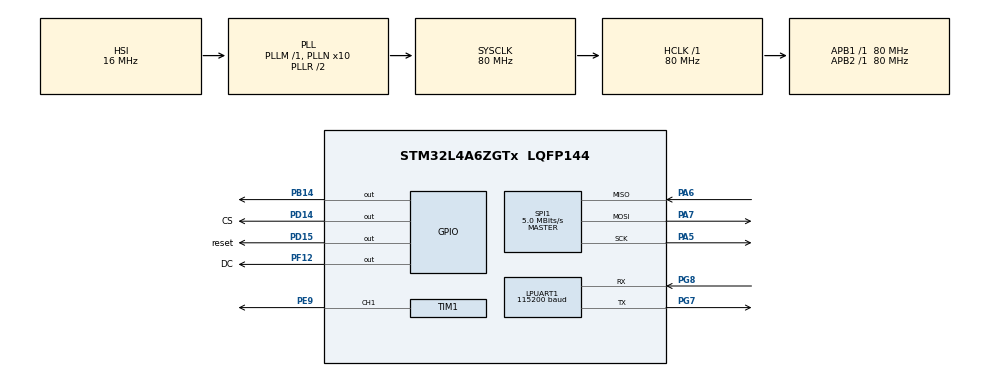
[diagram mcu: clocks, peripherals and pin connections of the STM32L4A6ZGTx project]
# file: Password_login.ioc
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AES.Data\ encryption\ types\ list=AESCBC
AES.DataType=CRYP_DATATYPE_8B
AES.pInitVect=01 02 03 04 05 06 07 08 09 0A 0B 0C 0D 0E 0F 00
AES.pKey=01 0A 02 0B 03 0F 04 05 07 0D 0C 0E 0B 09 08 00
Dma.Request0=SPI1_RX
Dma.Request1=SPI1_TX
Dma.SPI1_RX.0.Direction=DMA_PERIPH_TO_MEMORY
Dma.SPI1_RX.0.Instance=DMA1_Channel2
Dma.SPI1_RX.0.MemDataAlignment=DMA_MDATAALIGN_BYTE
Dma.SPI1_RX.0.MemInc=DMA_MINC_ENABLE
Dma.SPI1_RX.0.Mode=DMA_NORMAL
Dma.SPI1_RX.0.PeriphDataAlignment=DMA_PDATAALIGN_BYTE
Dma.SPI1_RX.0.PeriphInc=DMA_PINC_DISABLE
Dma.SPI1_RX.0.Priority=DMA_PRIORITY_LOW
Dma.SPI1_TX.1.Direction=DMA_MEMORY_TO_PERIPH
Dma.SPI1_TX.1.Instance=DMA1_Channel3
Dma.SPI1_TX.1.MemDataAlignment=DMA_MDATAALIGN_BYTE
Dma.SPI1_TX.1.MemInc=DMA_MINC_ENABLE
Dma.SPI1_TX.1.Mode=DMA_NORMAL
Dma.SPI1_TX.1.PeriphDataAlignment=DMA_PDATAALIGN_BYTE
Dma.SPI1_TX.1.PeriphInc=DMA_PINC_DISABLE
Dma.SPI1_TX.1.Priority=DMA_PRIORITY_LOW
LPUART1.BaudRate=115200
LPUART1.WordLength=UART_WORDLENGTH_8B
Mcu.Family=STM32L4
Mcu.Name=STM32L4A6ZGTx
Mcu.Package=LQFP144
NVIC.DMA1_Channel2_IRQn=true\:0\:0\:false\:false\:true\:false\:true\:true
NVIC.DMA1_Channel3_IRQn=true\:0\:0\:false\:false\:true\:false\:true\:true
NVIC.LPUART1_IRQn=true\:0\:0\:false\:false\:true\:true\:true\:true
NVIC.PriorityGroup=NVIC_PRIORITYGROUP_4
PA5.Mode=Full_Duplex_Master
PA5.Signal=SPI1_SCK
PA6.Mode=Full_Duplex_Master
PA6.Signal=SPI1_MISO
PA7.Mode=Full_Duplex_Master
PA7.Signal=SPI1_MOSI
PB14.Signal=GPIO_Output
PD14.GPIO_Label=CS
PD14.Signal=GPIO_Output
PD15.GPIO_Label=reset
PD15.Signal=GPIO_Output
PE9.Signal=S_TIM1_CH1
PF12.GPIO_Label=DC
PF12.Signal=GPIO_Output
PG7.Mode=Asynchronous
PG7.Signal=LPUART1_TX
PG8.Mode=Asynchronous
PG8.Signal=LPUART1_RX
ProjectManager.HeapSize=0x200
ProjectManager.StackSize=0x400
ProjectManager.TargetToolchain=STM32CubeIDE
RCC.ADCFreq_Value=64000000
RCC.AHBFreq_Value=80000000
RCC.APB1Freq_Value=80000000
RCC.APB1TimFreq_Value=80000000
RCC.APB2Freq_Value=80000000
RCC.APB2TimFreq_Value=80000000
RCC.CortexFreq_Value=80000000
RCC.HCLKFreq_Value=80000000
RCC.HSE_VALUE=8000000
RCC.HSI48_VALUE=48000000
RCC.HSI_VALUE=16000000
RCC.LSE_VALUE=32768
RCC.MSI_VALUE=4000000
RCC.PLLN=10
RCC.PLLSourceVirtual=RCC_PLLSOURCE_HSI
RCC.SYSCLKFreq_VALUE=80000000
RCC.SYSCLKSource=RCC_SYSCLKSOURCE_PLLCLK
RCC.USBFreq_Value=64000000
RCC.VCOOutputFreq_Value=160000000
SH.S_TIM1_CH1.0=TIM1_CH1,PWM Generation1 CH1
SPI1.BaudRatePrescaler=SPI_BAUDRATEPRESCALER_16
SPI1.CalculateBaudRate=5.0 MBits/s
SPI1.DataSize=SPI_DATASIZE_8BIT
SPI1.Direction=SPI_DIRECTION_2LINES
SPI1.Mode=SPI_MODE_MASTER
SPI1.VirtualType=VM_MASTER
TIM1.Channel-PWM\ Generation1\ CH1=TIM_CHANNEL_1
TIM1.Period=1000
TIM1.Prescaler=7
VP_AES_VS_AES.Mode=AES_Activate
board=custom

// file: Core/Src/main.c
/* USER CODE BEGIN Header */
/**
  ******************************************************************************
  * @file           : main.c
  * @brief          : Main program body
  ******************************************************************************
  * @attention
  *
  * Copyright (c) 2025 STMicroelectronics.
  * All rights reserved.
  *
  * This software is licensed under terms that can be found in the LICENSE file
  * in the root directory of this software component.
  * If no LICENSE file comes with this software, it is provided AS-IS.
  *
  ******************************************************************************
  */
/* USER CODE END Header */
#include "main.h"

/* USER CODE BEGIN Includes */
#include"string.h"
#include "menu.h"
#include "ST7735.h"
#include"GFX_FUNCTIONS.h"
/* USER CODE END Includes */

CRYP_HandleTypeDef hcryp;
__ALIGN_BEGIN static const uint8_t pKeyAES[16] __ALIGN_END = {
                            0x01,0x0A,0x02,0x0B,0x03,0x0F,0x04,0x05,0x07,0x0D,
                            0x0C,0x0E,0x0B,0x09,0x08,0x00};
__ALIGN_BEGIN static const uint8_t pInitVectAES[16] __ALIGN_END = {
                            0x01,0x02,0x03,0x04,0x05,0x06,0x07,0x08,0x09,0x0A,
                            0x0B,0x0C,0x0D,0x0E,0x0F,0x00};

UART_HandleTypeDef hlpuart1;

SPI_HandleTypeDef hspi1;
DMA_HandleTypeDef hdma_spi1_rx;
DMA_HandleTypeDef hdma_spi1_tx;

TIM_HandleTypeDef htim1;

void SystemClock_Config(void);
static void MX_GPIO_Init(void);
static void MX_DMA_Init(void);
static void MX_LPUART1_UART_Init(void);
static void MX_SPI1_Init(void);
static void MX_TIM1_Init(void);
static void MX_AES_Init(void);
/* USER CODE BEGIN PFP */
#define buffersize 16
uint8_t plain_text[buffersize] = "hello1234567890"; // pad to 16 bytes
uint8_t encrypted_text[buffersize];
int selected = 0;

uint8_t user_encrypted_text[buffersize];
char rx_buffer[buffersize];
uint8_t decrypted_text[buffersize];

volatile uint8_t rx_ready = 0;
char last_char;
uint8_t rx_char;
uint8_t pass_wrong;
void pass(){
	if(memcmp(user_encrypted_text,encrypted_text,buffersize)!=0){
				 //  HAL_UART_Transmit(&hlpuart1, (uint8_t *)"Invalid Password", strlen("Invalid Password"), HAL_MAX_DELAY);
		fillScreen(BLACK);
		ST7735_WriteString(5, 90,"Invalid Password", Font_11x18, RED, BLACK);
		pass_wrong=1;

	}else{
					//HAL_UART_Transmit(&hlpuart1, (uint8_t *)"WELCOME!!", strlen("WELCOME!!"), HAL_MAX_DELAY);
		fillScreen(BLACK);
		draw_menu(selected);
		ST7735_WriteString(95, 100, "Welcome", Font_11x18, WHITE, BLACK);
		pass_wrong=0;
	}
}
void ByteToHex(uint8_t byte, char *hex)
{
    const char hex_chars[] = "0123456789ABCDEF";
    hex[0] = hex_chars[(byte >> 4) & 0x0F];
    hex[1] = hex_chars[byte & 0x0F];
}
void HAL_UART_RxCpltCallback(UART_HandleTypeDef *huart)
{
    if (huart->Instance == LPUART1) {
        last_char = rx_char;
        rx_ready = 1; // Signal main loop
        HAL_UART_Receive_IT(&hlpuart1, &rx_char, 1);
    }
}
void menu_option(){
	if (rx_ready) {
				rx_ready = 0;

				 switch (last_char) {
					 case 'w':
						 selected--;
						 if (selected < 0) selected = NUM_OPTIONS - 1;
						 draw_menu(selected);
						 break;

					 case 's':
						 selected++;
						 if (selected >= NUM_OPTIONS) selected = 0;
						 draw_menu(selected);
						 break;

					 case '\r':
						 fillScreen(BLACK);
						 menu[selected].action();
						 HAL_Delay(1000);
						 draw_menu(selected);

						 break;
					 case 'a': // decrease brightness
							if (brightness >= 10) brightness -= 10;
							else brightness = 0;
							set_backlight_brightness(brightness);
							backlight_display();
							break;

						case 'd': // increase brightness
							if (brightness <= 90) brightness += 10;
							else brightness = 100;
							set_backlight_brightness(brightness);
							backlight_display();
							break;
				 }
			}
	}

/* USER CODE END PFP */

int main(void)
{

  /* MCU Configuration--------------------------------------------------------*/

  /* Reset of all peripherals, Initializes the Flash interface and the Systick. */
  HAL_Init();

  /* Configure the system clock */
  SystemClock_Config();

  /* Initialize all configured peripherals */
  MX_GPIO_Init();
  MX_DMA_Init();
  MX_LPUART1_UART_Init();
  MX_SPI1_Init();
  MX_TIM1_Init();
  MX_AES_Init();
  /* USER CODE BEGIN 2 */
  HAL_TIM_PWM_Start(&htim1, TIM_CHANNEL_1);

  // Test: set brightness to 50%
  set_backlight_brightness(brightness);
  ST7735_Init(0);
  fillScreen(BLACK);
  ST7735_SetRotation (1);

  // Encrypt
  if (HAL_CRYP_AESCBC_Encrypt(&hcryp,plain_text, buffersize, encrypted_text, HAL_MAX_DELAY) != HAL_OK) {
   	                             Error_Handler();
   	                         }
//  if (HAL_CRYP_AESCBC_Decrypt(&hcryp, encrypted_text, 32, decrypted_text, HAL_MAX_DELAY) != HAL_OK) {
//    	                            Error_Handler();
//    }
//  	   ST7735_WriteString(0, 80,"Decrypted: ",Font_11x18 , GREEN, BLACK);
//       ST7735_WriteString(0, 100,(const char*)decrypted_text, Font_11x18, WHITE, BLACK);
//
//
//
//       //HAL_UART_Transmit(&hlpuart1, (uint8_t *)"Encrypted Text: ", strlen("Encrypted Text: "), HAL_MAX_DELAY);
//       ST7735_WriteString(0, 0,"Encrypted: ",Font_11x18 , RED, BLACK);
//       uint16_t x = 0;
//       uint16_t y = 20; // Starting y-position
//       const uint16_t char_width = 20;  // width of each hex character block
//       const uint16_t char_height = 18; // height of the font (Font_11x18)
//
//       for (int i = 0; i < buffersize; i++) {
//           char hex[3];  // Ensure it's large enough for 2 hex digits + null terminator
//           hex[2] = '\0'; // for safety
//           ByteToHex(encrypted_text[i], hex);
//
//           ST7735_WriteString(x, y, (const char*)hex, Font_11x18, WHITE, BLACK);
//
//           x += char_width;
//           if (x + char_width > ST7735_WIDTH) {
//               x = 0;
//               y += char_height;
//           }
//       }

 //HAL_UART_Transmit(&hlpuart1, (uint8_t *)"Decrypted Text: ", strlen("Decrypted Text: "), HAL_MAX_DELAY);

//HAL_UART_Receive_IT(&hlpuart1, &rx_char, 1);

  /* USER CODE END 2 */

  /* Infinite loop */
  while (1)
  {

    /* USER CODE BEGIN 3 */
	  memset(rx_buffer, 0, sizeof(rx_buffer));//initialise
	  memset(user_encrypted_text, 0, sizeof(user_encrypted_text));//initialise

		HAL_UART_Transmit(&hlpuart1, (uint8_t*)"\r\n", 2,HAL_MAX_DELAY);

		HAL_UART_Transmit(&hlpuart1, (uint8_t *)"Enter Password: ", strlen("Enter Password: "),HAL_MAX_DELAY);
		ST7735_WriteString(0, 0,"Enter Password: ",Font_11x18 , CYAN, BLACK);

		uint8_t idx = 0;
		uint8_t ch;
		uint16_t x = 20;
	   uint16_t y = 20; // Starting y-position
	   const uint16_t char_width = 10;  // width of each hex character block
	   const uint16_t char_height = 9; // height of the font (Font_11x18)

				while (1)//taking password
				{
					// Receive one character
					HAL_UART_Receive(&hlpuart1, &ch, 1,HAL_MAX_DELAY);

					// Echo the character back
					HAL_UART_Transmit(&hlpuart1, &ch, 1,HAL_MAX_DELAY);
					//char str[2]={ch,'\0'};
//					ST7735_WriteString(x, y,str, Font_11x18, WHITE, BLACK);
					ST7735_WriteString(x, y,"*", Font_11x18, WHITE, BLACK);
				   x += char_width;
				   if (x + char_width > ST7735_WIDTH) {
					   x = 20;
					   y += char_height;
				   }

					// Store into buffer
					rx_buffer[idx++] = ch;

					// Break on newline or carriage return
					if (ch == '\r' || ch == '\n' || idx >= sizeof(rx_buffer) - 1)
					{
						rx_buffer[idx] = '\0'; // Null-terminate the string
						if(idx<sizeof(rx_buffer)){
							memset(&rx_buffer[idx],0x00,sizeof(rx_buffer)-idx);
						}
						fillScreen(BLACK);
						break;
					}
				}

				if (HAL_CRYP_AESCBC_Encrypt(&hcryp, (uint8_t*)rx_buffer, buffersize, user_encrypted_text, HAL_MAX_DELAY) != HAL_OK) {
						 Error_Handler();
					 }

                // send a newline after the echo
                HAL_UART_Transmit(&hlpuart1, (uint8_t*)"\r\n", 2, HAL_MAX_DELAY);

                if (HAL_CRYP_AESCBC_Encrypt(&hcryp, (uint8_t*)rx_buffer, buffersize, user_encrypted_text, HAL_MAX_DELAY) != HAL_OK) {
                         Error_Handler();
                     }
                if(memcmp(user_encrypted_text,encrypted_text,buffersize)!=0){
             	  // HAL_UART_Transmit(&hlpuart1, (uint8_t *)"Invalid Password", strlen("Invalid Password"), HAL_MAX_DELAY);
                	ST7735_WriteString(20, 50,"Invalid",Font_11x18 , RED, BLACK);
                	ST7735_WriteString(20, 70,"Password",Font_11x18 , RED, BLACK);
                	HAL_Delay(500);
                	fillScreen(BLACK);

                }else{
                	//HAL_UART_Transmit(&hlpuart1, (uint8_t *)"WELCOME!!", strlen("WELCOME!!"), HAL_MAX_DELAY);
                	fillScreen(BLACK);
                	ST7735_WriteString(20, 50,"WELCOME",Font_11x18 , GREEN, BLACK);
                	HAL_Delay(500);
                	draw_menu(selected);
                	HAL_UART_Receive_IT(&hlpuart1, &rx_char, 1);
                	while(1){

                			menu_option();

                	  }

	  }
  }

  /* USER CODE END 3 */
}

void SystemClock_Config(void)
{
  RCC_OscInitTypeDef RCC_OscInitStruct = {0};
  RCC_ClkInitTypeDef RCC_ClkInitStruct = {0};

  /** Configure the main internal regulator output voltage
  */
  if (HAL_PWREx_ControlVoltageScaling(PWR_REGULATOR_VOLTAGE_SCALE1) != HAL_OK)
  {
    Error_Handler();
  }

  /** Initializes the RCC Oscillators according to the specified parameters
  * in the RCC_OscInitTypeDef structure.
  */
  RCC_OscInitStruct.OscillatorType = RCC_OSCILLATORTYPE_HSI;
  RCC_OscInitStruct.HSIState = RCC_HSI_ON;
  RCC_OscInitStruct.HSICalibrationValue = RCC_HSICALIBRATION_DEFAULT;
  RCC_OscInitStruct.PLL.PLLState = RCC_PLL_ON;
  RCC_OscInitStruct.PLL.PLLSource = RCC_PLLSOURCE_HSI;
  RCC_OscInitStruct.PLL.PLLM = 1;
  RCC_OscInitStruct.PLL.PLLN = 10;
  RCC_OscInitStruct.PLL.PLLP = RCC_PLLP_DIV2;
  RCC_OscInitStruct.PLL.PLLQ = RCC_PLLQ_DIV2;
  RCC_OscInitStruct.PLL.PLLR = RCC_PLLR_DIV2;
  if (HAL_RCC_OscConfig(&RCC_OscInitStruct) != HAL_OK)
  {
    Error_Handler();
  }

  /** Initializes the CPU, AHB and APB buses clocks
  */
  RCC_ClkInitStruct.ClockType = RCC_CLOCKTYPE_HCLK|RCC_CLOCKTYPE_SYSCLK
                              |RCC_CLOCKTYPE_PCLK1|RCC_CLOCKTYPE_PCLK2;
  RCC_ClkInitStruct.SYSCLKSource = RCC_SYSCLKSOURCE_PLLCLK;
  RCC_ClkInitStruct.AHBCLKDivider = RCC_SYSCLK_DIV1;
  RCC_ClkInitStruct.APB1CLKDivider = RCC_HCLK_DIV1;
  RCC_ClkInitStruct.APB2CLKDivider = RCC_HCLK_DIV1;

  if (HAL_RCC_ClockConfig(&RCC_ClkInitStruct, FLASH_LATENCY_4) != HAL_OK)
  {
    Error_Handler();
  }
}

static void MX_AES_Init(void)
{

  hcryp.Instance = AES;
  hcryp.Init.DataType = CRYP_DATATYPE_8B;
  hcryp.Init.KeySize = CRYP_KEYSIZE_128B;
  hcryp.Init.OperatingMode = CRYP_ALGOMODE_ENCRYPT;
  hcryp.Init.ChainingMode = CRYP_CHAINMODE_AES_CBC;
  hcryp.Init.KeyWriteFlag = CRYP_KEY_WRITE_ENABLE;
  hcryp.Init.pKey = (uint8_t *)pKeyAES;
  hcryp.Init.pInitVect = (uint8_t *)pInitVectAES;
  if (HAL_CRYP_Init(&hcryp) != HAL_OK)
  {
    Error_Handler();
  }

}

static void MX_LPUART1_UART_Init(void)
{

  hlpuart1.Instance = LPUART1;
  hlpuart1.Init.BaudRate = 115200;
  hlpuart1.Init.WordLength = UART_WORDLENGTH_8B;
  hlpuart1.Init.StopBits = UART_STOPBITS_1;
  hlpuart1.Init.Parity = UART_PARITY_NONE;
  hlpuart1.Init.Mode = UART_MODE_TX_RX;
  hlpuart1.Init.HwFlowCtl = UART_HWCONTROL_NONE;
  hlpuart1.Init.OneBitSampling = UART_ONE_BIT_SAMPLE_DISABLE;
  hlpuart1.AdvancedInit.AdvFeatureInit = UART_ADVFEATURE_NO_INIT;
  if (HAL_UART_Init(&hlpuart1) != HAL_OK)
  {
    Error_Handler();
  }

}

static void MX_SPI1_Init(void)
{

  /* SPI1 parameter configuration*/
  hspi1.Instance = SPI1;
  hspi1.Init.Mode = SPI_MODE_MASTER;
  hspi1.Init.Direction = SPI_DIRECTION_2LINES;
  hspi1.Init.DataSize = SPI_DATASIZE_8BIT;
  hspi1.Init.CLKPolarity = SPI_POLARITY_LOW;
  hspi1.Init.CLKPhase = SPI_PHASE_1EDGE;
  hspi1.Init.NSS = SPI_NSS_SOFT;
  hspi1.Init.BaudRatePrescaler = SPI_BAUDRATEPRESCALER_16;
  hspi1.Init.FirstBit = SPI_FIRSTBIT_MSB;
  hspi1.Init.TIMode = SPI_TIMODE_DISABLE;
  hspi1.Init.CRCCalculation = SPI_CRCCALCULATION_DISABLE;
  hspi1.Init.CRCPolynomial = 7;
  hspi1.Init.CRCLength = SPI_CRC_LENGTH_DATASIZE;
  hspi1.Init.NSSPMode = SPI_NSS_PULSE_ENABLE;
  if (HAL_SPI_Init(&hspi1) != HAL_OK)
  {
    Error_Handler();
  }

}

static void MX_TIM1_Init(void)
{

  TIM_MasterConfigTypeDef sMasterConfig = {0};
  TIM_OC_InitTypeDef sConfigOC = {0};
  TIM_BreakDeadTimeConfigTypeDef sBreakDeadTimeConfig = {0};

  htim1.Instance = TIM1;
  htim1.Init.Prescaler = 7;
  htim1.Init.CounterMode = TIM_COUNTERMODE_UP;
  htim1.Init.Period = 1000;
  htim1.Init.ClockDivision = TIM_CLOCKDIVISION_DIV1;
  htim1.Init.RepetitionCounter = 0;
  htim1.Init.AutoReloadPreload = TIM_AUTORELOAD_PRELOAD_DISABLE;
  if (HAL_TIM_PWM_Init(&htim1) != HAL_OK)
  {
    Error_Handler();
  }
  sMasterConfig.MasterOutputTrigger = TIM_TRGO_RESET;
  sMasterConfig.MasterOutputTrigger2 = TIM_TRGO2_RESET;
  sMasterConfig.MasterSlaveMode = TIM_MASTERSLAVEMODE_DISABLE;
  if (HAL_TIMEx_MasterConfigSynchronization(&htim1, &sMasterConfig) != HAL_OK)
  {
    Error_Handler();
  }
  sConfigOC.OCMode = TIM_OCMODE_PWM1;
  sConfigOC.Pulse = 0;
  sConfigOC.OCPolarity = TIM_OCPOLARITY_HIGH;
  sConfigOC.OCNPolarity = TIM_OCNPOLARITY_HIGH;
  sConfigOC.OCFastMode = TIM_OCFAST_DISABLE;
  sConfigOC.OCIdleState = TIM_OCIDLESTATE_RESET;
  sConfigOC.OCNIdleState = TIM_OCNIDLESTATE_RESET;
  if (HAL_TIM_PWM_ConfigChannel(&htim1, &sConfigOC, TIM_CHANNEL_1) != HAL_OK)
  {
    Error_Handler();
  }
  sBreakDeadTimeConfig.OffStateRunMode = TIM_OSSR_DISABLE;
  sBreakDeadTimeConfig.OffStateIDLEMode = TIM_OSSI_DISABLE;
  sBreakDeadTimeConfig.LockLevel = TIM_LOCKLEVEL_OFF;
  sBreakDeadTimeConfig.DeadTime = 0;
  sBreakDeadTimeConfig.BreakState = TIM_BREAK_DISABLE;
  sBreakDeadTimeConfig.BreakPolarity = TIM_BREAKPOLARITY_HIGH;
  sBreakDeadTimeConfig.BreakFilter = 0;
  sBreakDeadTimeConfig.Break2State = TIM_BREAK2_DISABLE;
  sBreakDeadTimeConfig.Break2Polarity = TIM_BREAK2POLARITY_HIGH;
  sBreakDeadTimeConfig.Break2Filter = 0;
  sBreakDeadTimeConfig.AutomaticOutput = TIM_AUTOMATICOUTPUT_DISABLE;
  if (HAL_TIMEx_ConfigBreakDeadTime(&htim1, &sBreakDeadTimeConfig) != HAL_OK)
  {
    Error_Handler();
  }
  HAL_TIM_MspPostInit(&htim1);

}

static void MX_DMA_Init(void)
{

  /* DMA controller clock enable */
  __HAL_RCC_DMA1_CLK_ENABLE();

  /* DMA interrupt init */
  /* DMA1_Channel2_IRQn interrupt configuration */
  HAL_NVIC_SetPriority(DMA1_Channel2_IRQn, 0, 0);
  HAL_NVIC_EnableIRQ(DMA1_Channel2_IRQn);
  /* DMA1_Channel3_IRQn interrupt configuration */
  HAL_NVIC_SetPriority(DMA1_Channel3_IRQn, 0, 0);
  HAL_NVIC_EnableIRQ(DMA1_Channel3_IRQn);

}

static void MX_GPIO_Init(void)
{
  GPIO_InitTypeDef GPIO_InitStruct = {0};

  /* GPIO Ports Clock Enable */
  __HAL_RCC_GPIOA_CLK_ENABLE();
  __HAL_RCC_GPIOF_CLK_ENABLE();
  __HAL_RCC_GPIOE_CLK_ENABLE();
  __HAL_RCC_GPIOB_CLK_ENABLE();
  __HAL_RCC_GPIOD_CLK_ENABLE();
  __HAL_RCC_GPIOG_CLK_ENABLE();
  HAL_PWREx_EnableVddIO2();

  /*Configure GPIO pin Output Level */
  HAL_GPIO_WritePin(DC_GPIO_Port, DC_Pin, GPIO_PIN_RESET);

  /*Configure GPIO pin Output Level */
  HAL_GPIO_WritePin(GPIOB, GPIO_PIN_14, GPIO_PIN_RESET);

  /*Configure GPIO pin Output Level */
  HAL_GPIO_WritePin(GPIOD, CS_Pin|reset_Pin, GPIO_PIN_RESET);

  /*Configure GPIO pin : DC_Pin */
  GPIO_InitStruct.Pin = DC_Pin;
  GPIO_InitStruct.Mode = GPIO_MODE_OUTPUT_PP;
  GPIO_InitStruct.Pull = GPIO_NOPULL;
  GPIO_InitStruct.Speed = GPIO_SPEED_FREQ_LOW;
  HAL_GPIO_Init(DC_GPIO_Port, &GPIO_InitStruct);

  /*Configure GPIO pin : PB14 */
  GPIO_InitStruct.Pin = GPIO_PIN_14;
  GPIO_InitStruct.Mode = GPIO_MODE_OUTPUT_PP;
  GPIO_InitStruct.Pull = GPIO_NOPULL;
  GPIO_InitStruct.Speed = GPIO_SPEED_FREQ_LOW;
  HAL_GPIO_Init(GPIOB, &GPIO_InitStruct);

  /*Configure GPIO pins : CS_Pin reset_Pin */
  GPIO_InitStruct.Pin = CS_Pin|reset_Pin;
  GPIO_InitStruct.Mode = GPIO_MODE_OUTPUT_PP;
  GPIO_InitStruct.Pull = GPIO_NOPULL;
  GPIO_InitStruct.Speed = GPIO_SPEED_FREQ_LOW;
  HAL_GPIO_Init(GPIOD, &GPIO_InitStruct);

}

void Error_Handler(void)
{
  __disable_irq();
  while (1)
  {
  }
}
